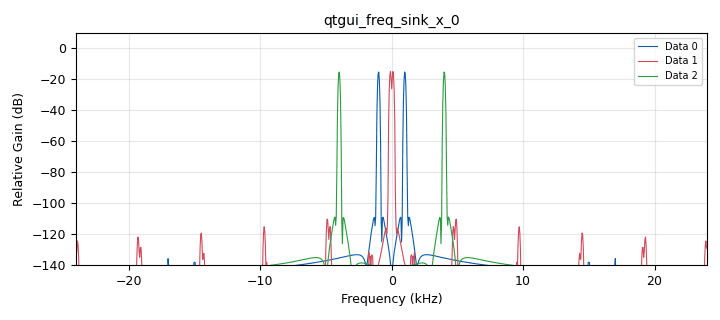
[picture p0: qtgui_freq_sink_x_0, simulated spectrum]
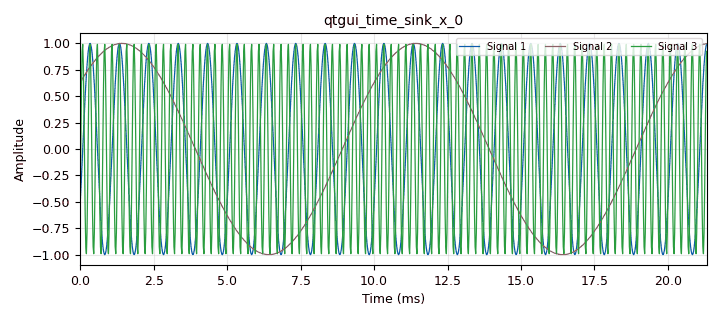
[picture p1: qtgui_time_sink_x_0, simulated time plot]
options:
  parameters:
    author: KevinJimenez_J1BAg4
    copyright: '2022'
    generate_options: qt_gui
    id: Lab_1_Punto_2_C
    output_language: python
    title: Lab1
  states: {}

blocks:
- name: samp_rate
  id: variable
  parameters:
    value: 48e3
  states: {}
- name: analog_sig_source_x_0
  id: analog_sig_source_x
  parameters:
    amp: '1'
    freq: 1e3
    offset: '0'
    phase: '0'
    samp_rate: samp_rate
    type: float
    waveform: analog.GR_COS_WAVE
  states: {}
- name: analog_sig_source_x_0_0
  id: analog_sig_source_x
  parameters:
    amp: '1'
    freq: 1e3
    offset: '0'
    phase: '0'
    samp_rate: samp_rate
    type: float
    waveform: analog.GR_COS_WAVE
  states: {}
- name: analog_sig_source_x_0_0_0
  id: analog_sig_source_x
  parameters:
    amp: '1'
    freq: 1e3
    offset: '0'
    phase: '0'
    samp_rate: samp_rate
    type: float
    waveform: analog.GR_COS_WAVE
  states: {}
- name: blocks_throttle_0
  id: blocks_throttle
  parameters:
    samples_per_second: samp_rate
    type: float
  states: {}
- name: qtgui_freq_sink_x_0
  id: qtgui_freq_sink_x
  parameters:
    bw: samp_rate
    fc: '0'
    fftsize: '1024'
    nconnections: '3'
    type: float
    wintype: firdes.WIN_BLACKMAN_hARRIS
  states: {}
- name: qtgui_time_sink_x_0
  id: qtgui_time_sink_x
  parameters:
    autoscale: 'True'
    nconnections: '3'
    size: '1024'
    srate: samp_rate
    type: float
  states: {}
- name: rational_resampler_xxx_0
  id: rational_resampler_xxx
  parameters:
    decim: '1'
    interp: '10'
    taps: ''
    type: fff
  states: {}
- name: rational_resampler_xxx_1
  id: rational_resampler_xxx
  parameters:
    decim: '4'
    interp: '1'
    taps: ''
    type: fff
  states: {}
- name: rational_resampler_xxx_2
  id: rational_resampler_xxx
  parameters:
    decim: '1'
    interp: '1'
    taps: ''
    type: fff
  states: {}

connections:
- [analog_sig_source_x_0, '0', rational_resampler_xxx_2, '0']
- [analog_sig_source_x_0_0, '0', rational_resampler_xxx_0, '0']
- [analog_sig_source_x_0_0_0, '0', rational_resampler_xxx_1, '0']
- [blocks_throttle_0, '0', qtgui_freq_sink_x_0, '0']
- [blocks_throttle_0, '0', qtgui_time_sink_x_0, '0']
- [rational_resampler_xxx_0, '0', qtgui_freq_sink_x_0, '1']
- [rational_resampler_xxx_0, '0', qtgui_time_sink_x_0, '1']
- [rational_resampler_xxx_1, '0', qtgui_freq_sink_x_0, '2']
- [rational_resampler_xxx_1, '0', qtgui_time_sink_x_0, '2']
- [rational_resampler_xxx_2, '0', blocks_throttle_0, '0']

metadata:
  file_format: 1
